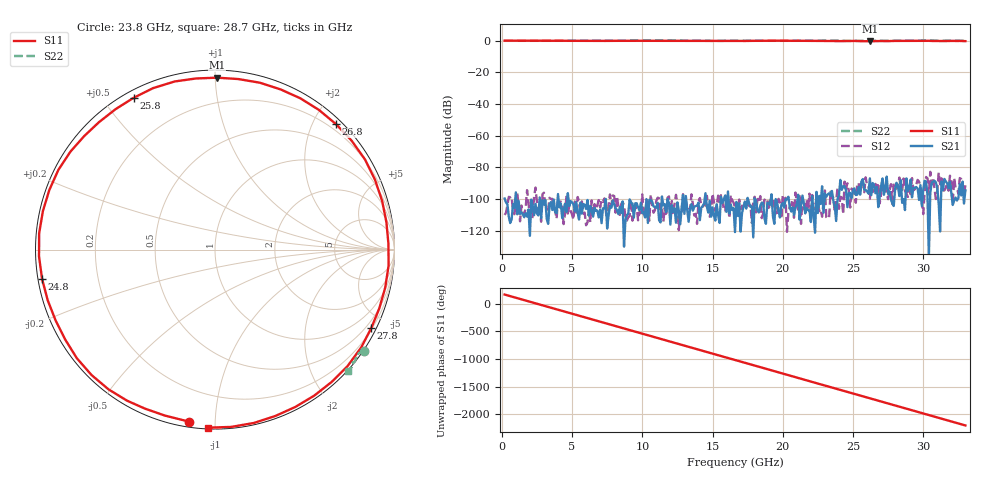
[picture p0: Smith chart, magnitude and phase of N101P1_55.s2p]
# GHZ S RI R 50
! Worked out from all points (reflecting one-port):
!   329 points, 200 MHz to 33 GHz, reference 50 ohm
!   lowest |S11| = -0.4 dB at 26.2 GHz (marker M1), VSWR 46.57, Z = 2.17 + j50.6 ohm
!   phase of S11 starts at 165 deg and turns -2369 deg over the sweep
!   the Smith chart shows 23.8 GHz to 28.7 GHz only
!   S11 on the Smith chart (normalised r, x): 23.8 GHz: 0.03, -0.86; 24.8 GHz: 0.01, -0.08; 25.8 GHz: 0.03, +0.60; 26.8 GHz: 0.10, +2.35; 27.8 GHz: 0.24, -4.20; 28.7 GHz: 0.01, -0.96
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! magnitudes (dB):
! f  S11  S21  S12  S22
! 200 MHz  0.0  -99.7  -110.2  0.0
! 5.7 GHz  -0.1  -109.2  -101.6  -0.1
! 11.2 GHz  -0.1  -113.6  -99.7  0.0
! 16.6 GHz  -0.2  -121.0  -105.0  -0.1
! 19.2 GHz  0.0  -97.1  -103.8  0.0
! 22.1 GHz  -0.1  -98.2  -97.5  0.0
! 22.9 GHz  -0.1  -108.8  -101.6  0.0
! 23.4 GHz  -0.2  -98.1  -95.4  -0.1
! 23.8 GHz  -0.3  -113.9  -100.9  0.0
! 24.8 GHz  -0.2  -96.3  -105.5  -0.1
! 25.3 GHz  -0.2  -97.3  -90.5  -0.2
! 25.8 GHz  -0.4  -94.1  -95.8  -0.1
! 26.2 GHz  -0.4  -87.0  -99.9  -0.1
! 26.8 GHz  -0.3  -105.2  -89.8  0.0
! 27.6 GHz  -0.2  -95.1  -94.9  0.0
! 27.8 GHz  -0.2  -102.7  -103.3  0.0
! 28.7 GHz  -0.1  -107.1  -95.0  0.0
! 29.6 GHz  -0.1  -93.3  -88.0  0.0
! 30.3 GHz  -0.1  -97.3  -86.9  0.1
! 31.3 GHz  -0.3  -89.0  -87.0  -0.1
! 31.9 GHz  -0.1  -89.1  -85.3  0.0
! 33 GHz  -0.3  -94.6  -91.4  -0.1
